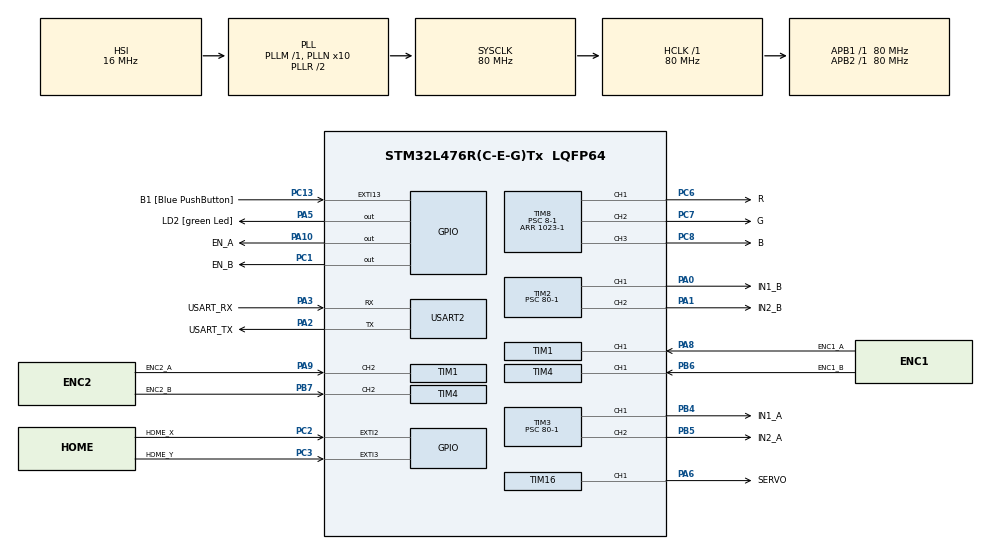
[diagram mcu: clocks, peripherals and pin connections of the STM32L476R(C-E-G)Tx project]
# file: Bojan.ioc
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Dma.Request0=USART2_RX
Dma.USART2_RX.0.Direction=DMA_PERIPH_TO_MEMORY
Dma.USART2_RX.0.Instance=DMA1_Channel6
Dma.USART2_RX.0.MemDataAlignment=DMA_MDATAALIGN_BYTE
Dma.USART2_RX.0.MemInc=DMA_MINC_ENABLE
Dma.USART2_RX.0.Mode=DMA_CIRCULAR
Dma.USART2_RX.0.PeriphDataAlignment=DMA_PDATAALIGN_BYTE
Dma.USART2_RX.0.PeriphInc=DMA_PINC_DISABLE
Dma.USART2_RX.0.Priority=DMA_PRIORITY_LOW
Mcu.Family=STM32L4
Mcu.Name=STM32L476R(C-E-G)Tx
Mcu.Package=LQFP64
NVIC.DMA1_Channel6_IRQn=true\:0\:0\:false\:false\:true\:false\:true
NVIC.EXTI2_IRQn=true\:0\:0\:false\:false\:true\:true\:true
NVIC.EXTI3_IRQn=true\:0\:0\:false\:false\:true\:true\:true
NVIC.PriorityGroup=NVIC_PRIORITYGROUP_4
NVIC.TIM6_DAC_IRQn=true\:2\:0\:true\:false\:true\:true\:true
NVIC.USART2_IRQn=true\:1\:0\:true\:false\:true\:true\:true
PA0.GPIO_Label=IN1_B
PA0.Signal=S_TIM2_CH1
PA1.GPIO_Label=IN2_B
PA1.Signal=S_TIM2_CH2
PA10.GPIO_Label=EN_A
PA10.PinState=GPIO_PIN_RESET
PA10.Signal=GPIO_Output
PA13\ (JTMS-SWDIO).GPIO_Label=TMS
PA13\ (JTMS-SWDIO).Mode=Serial_Wire
PA13\ (JTMS-SWDIO).Signal=SYS_JTMS-SWDIO
PA14\ (JTCK-SWCLK).GPIO_Label=TCK
PA14\ (JTCK-SWCLK).Mode=Serial_Wire
PA14\ (JTCK-SWCLK).Signal=SYS_JTCK-SWCLK
PA2.GPIO_Label=USART_TX
PA2.GPIO_Mode=GPIO_MODE_AF_PP
PA2.GPIO_PuPd=GPIO_NOPULL
PA2.GPIO_Speed=GPIO_SPEED_FREQ_VERY_HIGH
PA2.Mode=Asynchronous
PA2.Signal=USART2_TX
PA3.GPIO_Label=USART_RX
PA3.GPIO_Mode=GPIO_MODE_AF_PP
PA3.GPIO_PuPd=GPIO_NOPULL
PA3.GPIO_Speed=GPIO_SPEED_FREQ_VERY_HIGH
PA3.Mode=Asynchronous
PA3.Signal=USART2_RX
PA5.GPIO_Label=LD2 [green Led]
PA5.GPIO_ModeDefaultOutputPP=GPIO_MODE_OUTPUT_PP
PA5.GPIO_PuPd=GPIO_NOPULL
PA5.GPIO_Speed=GPIO_SPEED_FREQ_LOW
PA5.Signal=GPIO_Output
PA6.GPIO_Label=SERVO
PA6.Signal=S_TIM16_CH1
PA8.GPIO_Label=ENC1_A
PA8.Signal=S_TIM1_CH1
PA9.GPIO_Label=ENC2_A
PA9.Signal=S_TIM1_CH2
PB3\ (JTDO-TRACESWO).GPIO_Label=SWO
PB3\ (JTDO-TRACESWO).Signal=SYS_JTDO-SWO
PB4\ (NJTRST).GPIO_Label=IN1_A
PB4\ (NJTRST).Signal=S_TIM3_CH1
PB5.GPIO_Label=IN2_A
PB5.Signal=S_TIM3_CH2
PB6.GPIO_Label=ENC1_B
PB6.Signal=S_TIM4_CH1
PB7.GPIO_Label=ENC2_B
PB7.Signal=S_TIM4_CH2
PC1.GPIO_Label=EN_B
PC1.PinState=GPIO_PIN_RESET
PC1.Signal=GPIO_Output
PC13.GPIO_Label=B1 [Blue PushButton]
PC13.GPIO_ModeDefaultEXTI=GPIO_MODE_IT_FALLING
PC13.GPIO_PuPd=GPIO_NOPULL
PC13.Signal=GPXTI13
PC14-OSC32_IN\ (PC14).Mode=LSE-External-Oscillator
PC14-OSC32_IN\ (PC14).Signal=RCC_OSC32_IN
PC15-OSC32_OUT\ (PC15).Mode=LSE-External-Oscillator
PC15-OSC32_OUT\ (PC15).Signal=RCC_OSC32_OUT
PC2.GPIO_Label=HOME_X
PC2.GPIO_ModeDefaultEXTI=GPIO_MODE_IT_FALLING
PC2.Signal=GPXTI2
PC3.GPIO_Label=HOME_Y
PC3.GPIO_ModeDefaultEXTI=GPIO_MODE_IT_FALLING
PC3.Signal=GPXTI3
PC6.GPIO_Label=R
PC6.Signal=S_TIM8_CH1
PC7.GPIO_Label=G
PC7.Signal=S_TIM8_CH2
PC8.GPIO_Label=B
PC8.Signal=S_TIM8_CH3
PH0-OSC_IN\ (PH0).Signal=RCC_OSC_IN
PH1-OSC_OUT\ (PH1).Signal=RCC_OSC_OUT
ProjectManager.HeapSize=0x200
ProjectManager.StackSize=0x400
ProjectManager.TargetToolchain=STM32CubeIDE
RCC.ADCFreq_Value=64000000
RCC.AHBFreq_Value=80000000
RCC.APB1Freq_Value=80000000
RCC.APB1TimFreq_Value=80000000
RCC.APB2Freq_Value=80000000
RCC.APB2TimFreq_Value=80000000
RCC.CortexFreq_Value=80000000
RCC.HCLKFreq_Value=80000000
RCC.HSE_VALUE=8000000
RCC.HSI_VALUE=16000000
RCC.MSI_VALUE=4000000
RCC.PLLN=10
RCC.PLLSourceVirtual=RCC_PLLSOURCE_HSI
RCC.PREFETCH_ENABLE=1
RCC.SYSCLKFreq_VALUE=80000000
RCC.SYSCLKSource=RCC_SYSCLKSOURCE_PLLCLK
RCC.USBFreq_Value=64000000
RCC.VCOOutputFreq_Value=160000000
SH.S_TIM16_CH1.0=TIM16_CH1,PWM Generation1 CH1
SH.S_TIM1_CH1.0=TIM1_CH1,Encoder_Interface
SH.S_TIM1_CH2.0=TIM1_CH2,Encoder_Interface
SH.S_TIM2_CH1.0=TIM2_CH1,PWM Generation1 CH1
SH.S_TIM2_CH2.0=TIM2_CH2,PWM Generation2 CH2
SH.S_TIM3_CH1.0=TIM3_CH1,PWM Generation1 CH1
SH.S_TIM3_CH2.0=TIM3_CH2,PWM Generation2 CH2
SH.S_TIM4_CH1.0=TIM4_CH1,Encoder_Interface
SH.S_TIM4_CH2.0=TIM4_CH2,Encoder_Interface
SH.S_TIM8_CH1.0=TIM8_CH1,PWM Generation1 CH1
SH.S_TIM8_CH2.0=TIM8_CH2,PWM Generation2 CH2
SH.S_TIM8_CH3.0=TIM8_CH3,PWM Generation3 CH3
TIM1.EncoderMode=TIM_ENCODERMODE_TI12
TIM1.Period=0xFFFF
TIM16.Channel=TIM_CHANNEL_1
TIM16.Period=1000-1
TIM16.Prescaler=1680-1
TIM2.Channel-PWM\ Generation1\ CH1=TIM_CHANNEL_1
TIM2.Channel-PWM\ Generation2\ CH2=TIM_CHANNEL_2
TIM2.Period=100-1
TIM2.Prescaler=80-1
TIM3.Channel-PWM\ Generation1\ CH1=TIM_CHANNEL_1
TIM3.Channel-PWM\ Generation2\ CH2=TIM_CHANNEL_2
TIM3.Period=100-1
TIM3.Prescaler=80-1
TIM4.EncoderMode=TIM_ENCODERMODE_TI12
TIM4.Period=0xFFFF
TIM6.Period=1000
TIM6.Prescaler=80
TIM8.Channel-PWM\ Generation1\ CH1=TIM_CHANNEL_1
TIM8.Channel-PWM\ Generation2\ CH2=TIM_CHANNEL_2
TIM8.Channel-PWM\ Generation3\ CH3=TIM_CHANNEL_3
TIM8.Period=1023-1
TIM8.Prescaler=8-1
USART2.VirtualMode-Asynchronous=VM_ASYNC
VP_TIM16_VS_ClockSourceINT.Mode=Enable_Timer
VP_TIM2_VS_ClockSourceINT.Mode=Internal
VP_TIM3_VS_ClockSourceINT.Mode=Internal
VP_TIM6_VS_ClockSourceINT.Mode=Enable_Timer
VP_TIM8_VS_ClockSourceINT.Mode=Internal
board=NUCLEO-L476RG

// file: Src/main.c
/* USER CODE BEGIN Header */
/**
  ******************************************************************************
  * @file           : main.c
  * @brief          : Main program body
  ******************************************************************************
  * @attention
  *
  * <h2><center>&copy; Copyright (c) 2019 STMicroelectronics.
  * All rights reserved.</center></h2>
  *
  * This software component is licensed by ST under BSD 3-Clause license,
  * the "License"; You may not use this file except in compliance with the
  * License. You may obtain a copy of the License at:
  *                        opensource.org/licenses/BSD-3-Clause
  *
  ******************************************************************************
  */
/* USER CODE END Header */

#include "main.h"

/* USER CODE BEGIN Includes */
#include <stdio.h>

#include "uart_interface.h"
#include "motor_driver.h"
#include "led_driver.h"
/* USER CODE END Includes */

TIM_HandleTypeDef htim1;
TIM_HandleTypeDef htim2;
TIM_HandleTypeDef htim3;
TIM_HandleTypeDef htim4;
TIM_HandleTypeDef htim6;
TIM_HandleTypeDef htim8;
TIM_HandleTypeDef htim16;

UART_HandleTypeDef huart2;
DMA_HandleTypeDef hdma_usart2_rx;

void SystemClock_Config(void);
static void MX_GPIO_Init(void);
static void MX_USART2_UART_Init(void);
static void MX_DMA_Init(void);
static void MX_TIM1_Init(void);
static void MX_TIM3_Init(void);
static void MX_TIM2_Init(void);
static void MX_TIM4_Init(void);
static void MX_TIM8_Init(void);
static void MX_TIM16_Init(void);
static void MX_TIM6_Init(void);
/* USER CODE BEGIN PFP */
// Enable printf over UART
#ifdef __GNUC__
#define PUTCHAR_PROTOTYPE int __io_putchar(int ch)
#else
#define PUTCHAR_PROTOTYPE int fputc(int ch, FILE *f)
#endif /* __GNUC__ */
/* USER CODE END PFP */

/* USER CODE BEGIN 0 */
PUTCHAR_PROTOTYPE {
	// TODO: The blocking nature of printf causes instability issues in the motor speed regulation
	HAL_UART_Transmit(&huart2, (uint8_t *)&ch, 1, 0xFFFF);
	return ch;
}
/* USER CODE END 0 */

int main(void)
{

  /* MCU Configuration--------------------------------------------------------*/

  /* Reset of all peripherals, Initializes the Flash interface and the Systick. */
  HAL_Init();

  /* Configure the system clock */
  SystemClock_Config();

  /* Initialize all configured peripherals */
  MX_GPIO_Init();
  MX_DMA_Init();
  MX_USART2_UART_Init();
  MX_TIM1_Init();
  MX_TIM3_Init();
  MX_TIM2_Init();
  MX_TIM4_Init();
  MX_TIM8_Init();
  MX_TIM16_Init();
  MX_TIM6_Init();
  /* USER CODE BEGIN 2 */
  // NOTE: The DMA MUST be initialized before the UART, otherwise the UART RX won't work
  uart_interface_init(&huart2);
  motor_driver_init(&htim3, &htim1, &htim2, &htim4, &htim16);
  led_driver_init(&htim8, &htim6);

  /* USER CODE END 2 */

  /* Infinite loop */
  /* USER CODE BEGIN WHILE */
  // uint32_t i = 0;
  while (1)
  {
	  motor_driver_update();
	  /*state_t state = get_state();

	  i++;
	  if (i >= 100) {
		  printf("Absolute position - X: %f, Y: %f\nMove start - X: %f, Y: %f\nMove end - X: %f, Y: %f\n",
		  			  state.position.x, state.position.y,
		  			  state.axis_x.move_start, state.axis_y.move_start,
		  			  state.axis_x.move_end, state.axis_y.move_end);
		  i = 0;
	  }*/

	  HAL_Delay(10);
    /* USER CODE END WHILE */

  }
}

void SystemClock_Config(void)
{
  RCC_OscInitTypeDef RCC_OscInitStruct = {0};
  RCC_ClkInitTypeDef RCC_ClkInitStruct = {0};
  RCC_PeriphCLKInitTypeDef PeriphClkInit = {0};

  /** Initializes the CPU, AHB and APB busses clocks
  */
  RCC_OscInitStruct.OscillatorType = RCC_OSCILLATORTYPE_HSI;
  RCC_OscInitStruct.HSIState = RCC_HSI_ON;
  RCC_OscInitStruct.HSICalibrationValue = RCC_HSICALIBRATION_DEFAULT;
  RCC_OscInitStruct.PLL.PLLState = RCC_PLL_ON;
  RCC_OscInitStruct.PLL.PLLSource = RCC_PLLSOURCE_HSI;
  RCC_OscInitStruct.PLL.PLLM = 1;
  RCC_OscInitStruct.PLL.PLLN = 10;
  RCC_OscInitStruct.PLL.PLLP = RCC_PLLP_DIV7;
  RCC_OscInitStruct.PLL.PLLQ = RCC_PLLQ_DIV2;
  RCC_OscInitStruct.PLL.PLLR = RCC_PLLR_DIV2;
  if (HAL_RCC_OscConfig(&RCC_OscInitStruct) != HAL_OK)
  {
    Error_Handler();
  }
  /** Initializes the CPU, AHB and APB busses clocks
  */
  RCC_ClkInitStruct.ClockType = RCC_CLOCKTYPE_HCLK|RCC_CLOCKTYPE_SYSCLK
                              |RCC_CLOCKTYPE_PCLK1|RCC_CLOCKTYPE_PCLK2;
  RCC_ClkInitStruct.SYSCLKSource = RCC_SYSCLKSOURCE_PLLCLK;
  RCC_ClkInitStruct.AHBCLKDivider = RCC_SYSCLK_DIV1;
  RCC_ClkInitStruct.APB1CLKDivider = RCC_HCLK_DIV1;
  RCC_ClkInitStruct.APB2CLKDivider = RCC_HCLK_DIV1;

  if (HAL_RCC_ClockConfig(&RCC_ClkInitStruct, FLASH_LATENCY_4) != HAL_OK)
  {
    Error_Handler();
  }
  PeriphClkInit.PeriphClockSelection = RCC_PERIPHCLK_USART2;
  PeriphClkInit.Usart2ClockSelection = RCC_USART2CLKSOURCE_PCLK1;
  if (HAL_RCCEx_PeriphCLKConfig(&PeriphClkInit) != HAL_OK)
  {
    Error_Handler();
  }
  /** Configure the main internal regulator output voltage
  */
  if (HAL_PWREx_ControlVoltageScaling(PWR_REGULATOR_VOLTAGE_SCALE1) != HAL_OK)
  {
    Error_Handler();
  }
}

static void MX_TIM1_Init(void)
{

  TIM_Encoder_InitTypeDef sConfig = {0};
  TIM_MasterConfigTypeDef sMasterConfig = {0};

  htim1.Instance = TIM1;
  htim1.Init.Prescaler = 0;
  htim1.Init.CounterMode = TIM_COUNTERMODE_UP;
  htim1.Init.Period = 0xFFFF;
  htim1.Init.ClockDivision = TIM_CLOCKDIVISION_DIV1;
  htim1.Init.RepetitionCounter = 0;
  htim1.Init.AutoReloadPreload = TIM_AUTORELOAD_PRELOAD_DISABLE;
  sConfig.EncoderMode = TIM_ENCODERMODE_TI12;
  sConfig.IC1Polarity = TIM_ICPOLARITY_RISING;
  sConfig.IC1Selection = TIM_ICSELECTION_DIRECTTI;
  sConfig.IC1Prescaler = TIM_ICPSC_DIV1;
  sConfig.IC1Filter = 0;
  sConfig.IC2Polarity = TIM_ICPOLARITY_RISING;
  sConfig.IC2Selection = TIM_ICSELECTION_DIRECTTI;
  sConfig.IC2Prescaler = TIM_ICPSC_DIV1;
  sConfig.IC2Filter = 0;
  if (HAL_TIM_Encoder_Init(&htim1, &sConfig) != HAL_OK)
  {
    Error_Handler();
  }
  sMasterConfig.MasterOutputTrigger = TIM_TRGO_RESET;
  sMasterConfig.MasterOutputTrigger2 = TIM_TRGO2_RESET;
  sMasterConfig.MasterSlaveMode = TIM_MASTERSLAVEMODE_DISABLE;
  if (HAL_TIMEx_MasterConfigSynchronization(&htim1, &sMasterConfig) != HAL_OK)
  {
    Error_Handler();
  }

}

static void MX_TIM2_Init(void)
{

  TIM_ClockConfigTypeDef sClockSourceConfig = {0};
  TIM_MasterConfigTypeDef sMasterConfig = {0};
  TIM_OC_InitTypeDef sConfigOC = {0};

  htim2.Instance = TIM2;
  htim2.Init.Prescaler = 80-1;
  htim2.Init.CounterMode = TIM_COUNTERMODE_UP;
  htim2.Init.Period = 100-1;
  htim2.Init.ClockDivision = TIM_CLOCKDIVISION_DIV1;
  htim2.Init.AutoReloadPreload = TIM_AUTORELOAD_PRELOAD_DISABLE;
  if (HAL_TIM_Base_Init(&htim2) != HAL_OK)
  {
    Error_Handler();
  }
  sClockSourceConfig.ClockSource = TIM_CLOCKSOURCE_INTERNAL;
  if (HAL_TIM_ConfigClockSource(&htim2, &sClockSourceConfig) != HAL_OK)
  {
    Error_Handler();
  }
  if (HAL_TIM_PWM_Init(&htim2) != HAL_OK)
  {
    Error_Handler();
  }
  sMasterConfig.MasterOutputTrigger = TIM_TRGO_RESET;
  sMasterConfig.MasterSlaveMode = TIM_MASTERSLAVEMODE_DISABLE;
  if (HAL_TIMEx_MasterConfigSynchronization(&htim2, &sMasterConfig) != HAL_OK)
  {
    Error_Handler();
  }
  sConfigOC.OCMode = TIM_OCMODE_PWM1;
  sConfigOC.Pulse = 0;
  sConfigOC.OCPolarity = TIM_OCPOLARITY_HIGH;
  sConfigOC.OCFastMode = TIM_OCFAST_DISABLE;
  if (HAL_TIM_PWM_ConfigChannel(&htim2, &sConfigOC, TIM_CHANNEL_1) != HAL_OK)
  {
    Error_Handler();
  }
  if (HAL_TIM_PWM_ConfigChannel(&htim2, &sConfigOC, TIM_CHANNEL_2) != HAL_OK)
  {
    Error_Handler();
  }
  HAL_TIM_MspPostInit(&htim2);

}

static void MX_TIM3_Init(void)
{

  TIM_ClockConfigTypeDef sClockSourceConfig = {0};
  TIM_MasterConfigTypeDef sMasterConfig = {0};
  TIM_OC_InitTypeDef sConfigOC = {0};

  htim3.Instance = TIM3;
  htim3.Init.Prescaler = 80-1;
  htim3.Init.CounterMode = TIM_COUNTERMODE_UP;
  htim3.Init.Period = 100-1;
  htim3.Init.ClockDivision = TIM_CLOCKDIVISION_DIV1;
  htim3.Init.AutoReloadPreload = TIM_AUTORELOAD_PRELOAD_DISABLE;
  if (HAL_TIM_Base_Init(&htim3) != HAL_OK)
  {
    Error_Handler();
  }
  sClockSourceConfig.ClockSource = TIM_CLOCKSOURCE_INTERNAL;
  if (HAL_TIM_ConfigClockSource(&htim3, &sClockSourceConfig) != HAL_OK)
  {
    Error_Handler();
  }
  if (HAL_TIM_PWM_Init(&htim3) != HAL_OK)
  {
    Error_Handler();
  }
  sMasterConfig.MasterOutputTrigger = TIM_TRGO_RESET;
  sMasterConfig.MasterSlaveMode = TIM_MASTERSLAVEMODE_DISABLE;
  if (HAL_TIMEx_MasterConfigSynchronization(&htim3, &sMasterConfig) != HAL_OK)
  {
    Error_Handler();
  }
  sConfigOC.OCMode = TIM_OCMODE_PWM1;
  sConfigOC.Pulse = 0;
  sConfigOC.OCPolarity = TIM_OCPOLARITY_HIGH;
  sConfigOC.OCFastMode = TIM_OCFAST_DISABLE;
  if (HAL_TIM_PWM_ConfigChannel(&htim3, &sConfigOC, TIM_CHANNEL_1) != HAL_OK)
  {
    Error_Handler();
  }
  if (HAL_TIM_PWM_ConfigChannel(&htim3, &sConfigOC, TIM_CHANNEL_2) != HAL_OK)
  {
    Error_Handler();
  }
  HAL_TIM_MspPostInit(&htim3);

}

static void MX_TIM4_Init(void)
{

  TIM_Encoder_InitTypeDef sConfig = {0};
  TIM_MasterConfigTypeDef sMasterConfig = {0};

  htim4.Instance = TIM4;
  htim4.Init.Prescaler = 0;
  htim4.Init.CounterMode = TIM_COUNTERMODE_UP;
  htim4.Init.Period = 0xFFFF;
  htim4.Init.ClockDivision = TIM_CLOCKDIVISION_DIV1;
  htim4.Init.AutoReloadPreload = TIM_AUTORELOAD_PRELOAD_DISABLE;
  sConfig.EncoderMode = TIM_ENCODERMODE_TI12;
  sConfig.IC1Polarity = TIM_ICPOLARITY_RISING;
  sConfig.IC1Selection = TIM_ICSELECTION_DIRECTTI;
  sConfig.IC1Prescaler = TIM_ICPSC_DIV1;
  sConfig.IC1Filter = 0;
  sConfig.IC2Polarity = TIM_ICPOLARITY_RISING;
  sConfig.IC2Selection = TIM_ICSELECTION_DIRECTTI;
  sConfig.IC2Prescaler = TIM_ICPSC_DIV1;
  sConfig.IC2Filter = 0;
  if (HAL_TIM_Encoder_Init(&htim4, &sConfig) != HAL_OK)
  {
    Error_Handler();
  }
  sMasterConfig.MasterOutputTrigger = TIM_TRGO_RESET;
  sMasterConfig.MasterSlaveMode = TIM_MASTERSLAVEMODE_DISABLE;
  if (HAL_TIMEx_MasterConfigSynchronization(&htim4, &sMasterConfig) != HAL_OK)
  {
    Error_Handler();
  }

}

static void MX_TIM6_Init(void)
{

  TIM_MasterConfigTypeDef sMasterConfig = {0};

  htim6.Instance = TIM6;
  htim6.Init.Prescaler = 80;
  htim6.Init.CounterMode = TIM_COUNTERMODE_UP;
  htim6.Init.Period = 1000;
  htim6.Init.AutoReloadPreload = TIM_AUTORELOAD_PRELOAD_DISABLE;
  if (HAL_TIM_Base_Init(&htim6) != HAL_OK)
  {
    Error_Handler();
  }
  sMasterConfig.MasterOutputTrigger = TIM_TRGO_RESET;
  sMasterConfig.MasterSlaveMode = TIM_MASTERSLAVEMODE_DISABLE;
  if (HAL_TIMEx_MasterConfigSynchronization(&htim6, &sMasterConfig) != HAL_OK)
  {
    Error_Handler();
  }

}

static void MX_TIM8_Init(void)
{

  TIM_ClockConfigTypeDef sClockSourceConfig = {0};
  TIM_MasterConfigTypeDef sMasterConfig = {0};
  TIM_OC_InitTypeDef sConfigOC = {0};
  TIM_BreakDeadTimeConfigTypeDef sBreakDeadTimeConfig = {0};

  htim8.Instance = TIM8;
  htim8.Init.Prescaler = 8-1;
  htim8.Init.CounterMode = TIM_COUNTERMODE_UP;
  htim8.Init.Period = 1023-1;
  htim8.Init.ClockDivision = TIM_CLOCKDIVISION_DIV1;
  htim8.Init.RepetitionCounter = 0;
  htim8.Init.AutoReloadPreload = TIM_AUTORELOAD_PRELOAD_DISABLE;
  if (HAL_TIM_Base_Init(&htim8) != HAL_OK)
  {
    Error_Handler();
  }
  sClockSourceConfig.ClockSource = TIM_CLOCKSOURCE_INTERNAL;
  if (HAL_TIM_ConfigClockSource(&htim8, &sClockSourceConfig) != HAL_OK)
  {
    Error_Handler();
  }
  if (HAL_TIM_PWM_Init(&htim8) != HAL_OK)
  {
    Error_Handler();
  }
  sMasterConfig.MasterOutputTrigger = TIM_TRGO_RESET;
  sMasterConfig.MasterOutputTrigger2 = TIM_TRGO2_RESET;
  sMasterConfig.MasterSlaveMode = TIM_MASTERSLAVEMODE_DISABLE;
  if (HAL_TIMEx_MasterConfigSynchronization(&htim8, &sMasterConfig) != HAL_OK)
  {
    Error_Handler();
  }
  sConfigOC.OCMode = TIM_OCMODE_PWM1;
  sConfigOC.Pulse = 0;
  sConfigOC.OCPolarity = TIM_OCPOLARITY_HIGH;
  sConfigOC.OCNPolarity = TIM_OCNPOLARITY_HIGH;
  sConfigOC.OCFastMode = TIM_OCFAST_DISABLE;
  sConfigOC.OCIdleState = TIM_OCIDLESTATE_RESET;
  sConfigOC.OCNIdleState = TIM_OCNIDLESTATE_RESET;
  if (HAL_TIM_PWM_ConfigChannel(&htim8, &sConfigOC, TIM_CHANNEL_1) != HAL_OK)
  {
    Error_Handler();
  }
  if (HAL_TIM_PWM_ConfigChannel(&htim8, &sConfigOC, TIM_CHANNEL_2) != HAL_OK)
  {
    Error_Handler();
  }
  if (HAL_TIM_PWM_ConfigChannel(&htim8, &sConfigOC, TIM_CHANNEL_3) != HAL_OK)
  {
    Error_Handler();
  }
  sBreakDeadTimeConfig.OffStateRunMode = TIM_OSSR_DISABLE;
  sBreakDeadTimeConfig.OffStateIDLEMode = TIM_OSSI_DISABLE;
  sBreakDeadTimeConfig.LockLevel = TIM_LOCKLEVEL_OFF;
  sBreakDeadTimeConfig.DeadTime = 0;
  sBreakDeadTimeConfig.BreakState = TIM_BREAK_DISABLE;
  sBreakDeadTimeConfig.BreakPolarity = TIM_BREAKPOLARITY_HIGH;
  sBreakDeadTimeConfig.BreakFilter = 0;
  sBreakDeadTimeConfig.Break2State = TIM_BREAK2_DISABLE;
  sBreakDeadTimeConfig.Break2Polarity = TIM_BREAK2POLARITY_HIGH;
  sBreakDeadTimeConfig.Break2Filter = 0;
  sBreakDeadTimeConfig.AutomaticOutput = TIM_AUTOMATICOUTPUT_DISABLE;
  if (HAL_TIMEx_ConfigBreakDeadTime(&htim8, &sBreakDeadTimeConfig) != HAL_OK)
  {
    Error_Handler();
  }
  HAL_TIM_MspPostInit(&htim8);

}

static void MX_TIM16_Init(void)
{

  TIM_OC_InitTypeDef sConfigOC = {0};
  TIM_BreakDeadTimeConfigTypeDef sBreakDeadTimeConfig = {0};

  htim16.Instance = TIM16;
  htim16.Init.Prescaler = 1680-1;
  htim16.Init.CounterMode = TIM_COUNTERMODE_UP;
  htim16.Init.Period = 1000-1;
  htim16.Init.ClockDivision = TIM_CLOCKDIVISION_DIV1;
  htim16.Init.RepetitionCounter = 0;
  htim16.Init.AutoReloadPreload = TIM_AUTORELOAD_PRELOAD_DISABLE;
  if (HAL_TIM_Base_Init(&htim16) != HAL_OK)
  {
    Error_Handler();
  }
  if (HAL_TIM_PWM_Init(&htim16) != HAL_OK)
  {
    Error_Handler();
  }
  sConfigOC.OCMode = TIM_OCMODE_PWM1;
  sConfigOC.Pulse = 0;
  sConfigOC.OCPolarity = TIM_OCPOLARITY_HIGH;
  sConfigOC.OCNPolarity = TIM_OCNPOLARITY_HIGH;
  sConfigOC.OCFastMode = TIM_OCFAST_DISABLE;
  sConfigOC.OCIdleState = TIM_OCIDLESTATE_RESET;
  sConfigOC.OCNIdleState = TIM_OCNIDLESTATE_RESET;
  if (HAL_TIM_PWM_ConfigChannel(&htim16, &sConfigOC, TIM_CHANNEL_1) != HAL_OK)
  {
    Error_Handler();
  }
  sBreakDeadTimeConfig.OffStateRunMode = TIM_OSSR_DISABLE;
  sBreakDeadTimeConfig.OffStateIDLEMode = TIM_OSSI_DISABLE;
  sBreakDeadTimeConfig.LockLevel = TIM_LOCKLEVEL_OFF;
  sBreakDeadTimeConfig.DeadTime = 0;
  sBreakDeadTimeConfig.BreakState = TIM_BREAK_DISABLE;
  sBreakDeadTimeConfig.BreakPolarity = TIM_BREAKPOLARITY_HIGH;
  sBreakDeadTimeConfig.AutomaticOutput = TIM_AUTOMATICOUTPUT_DISABLE;
  if (HAL_TIMEx_ConfigBreakDeadTime(&htim16, &sBreakDeadTimeConfig) != HAL_OK)
  {
    Error_Handler();
  }
  HAL_TIM_MspPostInit(&htim16);

}

static void MX_USART2_UART_Init(void)
{

  huart2.Instance = USART2;
  huart2.Init.BaudRate = 115200;
  huart2.Init.WordLength = UART_WORDLENGTH_8B;
  huart2.Init.StopBits = UART_STOPBITS_1;
  huart2.Init.Parity = UART_PARITY_NONE;
  huart2.Init.Mode = UART_MODE_TX_RX;
  huart2.Init.HwFlowCtl = UART_HWCONTROL_NONE;
  huart2.Init.OverSampling = UART_OVERSAMPLING_16;
  huart2.Init.OneBitSampling = UART_ONE_BIT_SAMPLE_DISABLE;
  huart2.AdvancedInit.AdvFeatureInit = UART_ADVFEATURE_NO_INIT;
  if (HAL_UART_Init(&huart2) != HAL_OK)
  {
    Error_Handler();
  }

}

static void MX_DMA_Init(void)
{

  /* DMA controller clock enable */
  __HAL_RCC_DMA1_CLK_ENABLE();

  /* DMA interrupt init */
  /* DMA1_Channel6_IRQn interrupt configuration */
  HAL_NVIC_SetPriority(DMA1_Channel6_IRQn, 0, 0);
  HAL_NVIC_EnableIRQ(DMA1_Channel6_IRQn);

}

static void MX_GPIO_Init(void)
{
  GPIO_InitTypeDef GPIO_InitStruct = {0};

  /* GPIO Ports Clock Enable */
  __HAL_RCC_GPIOC_CLK_ENABLE();
  __HAL_RCC_GPIOH_CLK_ENABLE();
  __HAL_RCC_GPIOA_CLK_ENABLE();
  __HAL_RCC_GPIOB_CLK_ENABLE();

  /*Configure GPIO pin Output Level */
  HAL_GPIO_WritePin(EN_B_GPIO_Port, EN_B_Pin, GPIO_PIN_RESET);

  /*Configure GPIO pin Output Level */
  HAL_GPIO_WritePin(GPIOA, LD2_Pin|EN_A_Pin, GPIO_PIN_RESET);

  /*Configure GPIO pins : B1_Pin HOME_X_Pin HOME_Y_Pin */
  GPIO_InitStruct.Pin = B1_Pin|HOME_X_Pin|HOME_Y_Pin;
  GPIO_InitStruct.Mode = GPIO_MODE_IT_FALLING;
  GPIO_InitStruct.Pull = GPIO_NOPULL;
  HAL_GPIO_Init(GPIOC, &GPIO_InitStruct);

  /*Configure GPIO pin : EN_B_Pin */
  GPIO_InitStruct.Pin = EN_B_Pin;
  GPIO_InitStruct.Mode = GPIO_MODE_OUTPUT_PP;
  GPIO_InitStruct.Pull = GPIO_NOPULL;
  GPIO_InitStruct.Speed = GPIO_SPEED_FREQ_LOW;
  HAL_GPIO_Init(EN_B_GPIO_Port, &GPIO_InitStruct);

  /*Configure GPIO pins : LD2_Pin EN_A_Pin */
  GPIO_InitStruct.Pin = LD2_Pin|EN_A_Pin;
  GPIO_InitStruct.Mode = GPIO_MODE_OUTPUT_PP;
  GPIO_InitStruct.Pull = GPIO_NOPULL;
  GPIO_InitStruct.Speed = GPIO_SPEED_FREQ_LOW;
  HAL_GPIO_Init(GPIOA, &GPIO_InitStruct);

  /* EXTI interrupt init*/
  HAL_NVIC_SetPriority(EXTI2_IRQn, 0, 0);
  HAL_NVIC_EnableIRQ(EXTI2_IRQn);

  HAL_NVIC_SetPriority(EXTI3_IRQn, 0, 0);
  HAL_NVIC_EnableIRQ(EXTI3_IRQn);

}

void Error_Handler(void)
{
}

/************************ (C) COPYRIGHT STMicroelectronics *****END OF FILE****/
